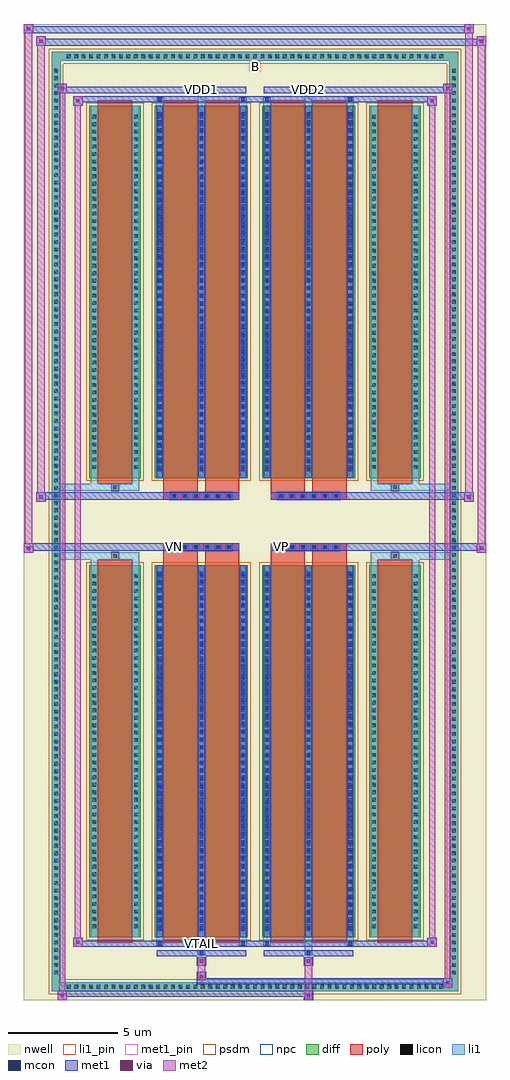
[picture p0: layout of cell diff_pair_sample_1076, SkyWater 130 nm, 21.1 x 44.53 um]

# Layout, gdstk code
import gdstk
lib = gdstk.Library(unit=1e-6, precision=5e-09)
def R(c, l, rs):  # rectangles x0, y0, x1, y1
    for r in rs: c.add(gdstk.rectangle(r[:2], r[2:], *l))
def A(c, l, x, y, w, h, nx, ny, dx, dy):  # array of equal rectangles
    R(c, l, [(x+i*dx, y+j*dy, x+i*dx+w, y+j*dy+h) for i in range(nx) for j in range(ny)])
def P(c, l, *ps):  # polygons
    for p in ps: c.add(gdstk.Polygon(p, *l))
nwell = (64, 20)
diff = (65, 20)
poly = (66, 20)
licon = (66, 44)
li1_pin = (67, 16)
li1 = (67, 20)
mcon = (67, 44)
met1_pin = (68, 16)
met1 = (68, 20)
via = (68, 44)
met2 = (69, 20)
psdm = (94, 20)
npc = (95, 20)

diff_pair_sample_1076 = lib.new_cell('diff_pair_sample_1076')
R(diff_pair_sample_1076, nwell, [(-10.55,-21.83,10.55,22.7), (-7.87,-20.02,-0.01,-0.8), (0.01,-20.02,7.87,-0.8), (-7.87,0.8,-0.01,20.02), (0.01,0.8,7.87,20.02)])
A(diff_pair_sample_1076, diff, -8.705, -21.43, 0.41, 0.41, 51, 2, 0.34, 42.45)
A(diff_pair_sample_1076, diff, -9.28, -20.775, 0.41, 0.41, 1, 122, 0, 0.34)
A(diff_pair_sample_1076, diff, 8.87, -20.775, 0.41, 0.41, 1, 122, 0, 0.34)
R(diff_pair_sample_1076, diff, [(-8.705,-21.43,8.705,-21.02), (-9.28,-20.775,-8.87,20.775), (8.87,-20.775,9.28,20.775), (-7.56,-18.975,-5.21,-1.985), (-4.57,-18.975,-0.32,-1.985), (0.32,-18.975,4.57,-1.985), (5.21,-18.975,7.56,-1.985), (-7.56,1.985,-5.21,18.975), (-4.57,1.985,-0.32,18.975), (0.32,1.985,4.57,18.975), (5.21,1.985,7.56,18.975), (-8.705,21.02,8.705,21.43)])
P(diff_pair_sample_1076, diff, [(9.28,21.43),(-9.28,21.43),(-9.28,-21.02),(-8.87,-21.02),(-8.87,21.02),(8.87,21.02),(8.87,-21.02),(-8.87,-21.02),(-9.28,-21.02),(-9.28,-21.43),(9.28,-21.43)])
A(diff_pair_sample_1076, poly, -3.86, -1.33, 0.33, 0.33, 6, 2, 0.5, 2.33)
A(diff_pair_sample_1076, poly, 1.03, -1.33, 0.33, 0.33, 6, 2, 0.5, 2.33)
R(diff_pair_sample_1076, poly, [(-7.17,-19.225,-5.6,-1.735), (-4.18,-19.225,-2.61,-1.735), (-2.28,-19.225,-0.71,-1.735), (0.71,-19.225,2.28,-1.735), (2.61,-19.225,4.18,-1.735), (5.6,-19.225,7.17,-1.735), (-6.55,-1.735,-6.22,-1.405), (-6.55,-1.735,-6.22,-1.405), (-4.18,-1.735,-2.61,-1.33), (-2.28,-1.735,-0.71,-1.33), (0.71,-1.735,2.28,-1.33), (2.61,-1.735,4.18,-1.33), (6.22,-1.735,6.55,-1.405), (6.22,-1.735,6.55,-1.405), (-4.18,-1.33,-0.71,-1), (0.71,-1.33,4.18,-1), (-4.18,1,-0.71,1.33), (0.71,1,4.18,1.33), (-4.18,1.33,-2.61,1.735), (-2.28,1.33,-0.71,1.735), (0.71,1.33,2.28,1.735), (2.61,1.33,4.18,1.735), (-6.55,1.405,-6.22,1.735), (-6.55,1.405,-6.22,1.735), (6.22,1.405,6.55,1.735), (6.22,1.405,6.55,1.735), (-7.17,1.735,-5.6,19.225), (-4.18,1.735,-2.61,19.225), (-2.28,1.735,-0.71,19.225), (0.71,1.735,2.28,19.225), (2.61,1.735,4.18,19.225), (5.6,1.735,7.17,19.225)])
A(diff_pair_sample_1076, licon, -8.585, -21.31, 0.17, 0.17, 51, 2, 0.34, 42.45)
A(diff_pair_sample_1076, licon, -9.16, -20.655, 0.17, 0.17, 1, 122, 0, 0.34)
A(diff_pair_sample_1076, licon, 8.99, -20.655, 0.17, 0.17, 1, 122, 0, 0.34)
A(diff_pair_sample_1076, licon, -7.42, -18.555, 0.17, 0.17, 1, 48, 0, 0.34)
A(diff_pair_sample_1076, licon, -5.52, -18.555, 0.17, 0.17, 1, 48, 0, 0.34)
A(diff_pair_sample_1076, licon, -4.43, -18.555, 0.17, 0.17, 3, 48, 1.9, 0.34)
A(diff_pair_sample_1076, licon, 0.46, -18.555, 0.17, 0.17, 3, 48, 1.9, 0.34)
A(diff_pair_sample_1076, licon, 5.35, -18.555, 0.17, 0.17, 1, 48, 0, 0.34)
A(diff_pair_sample_1076, licon, 7.25, -18.555, 0.17, 0.17, 1, 48, 0, 0.34)
A(diff_pair_sample_1076, licon, -3.78, -1.25, 0.17, 0.17, 6, 2, 0.5, 2.33)
A(diff_pair_sample_1076, licon, 1.11, -1.25, 0.17, 0.17, 6, 2, 0.5, 2.33)
A(diff_pair_sample_1076, licon, -7.42, 2.405, 0.17, 0.17, 1, 48, 0, 0.34)
A(diff_pair_sample_1076, licon, -5.52, 2.405, 0.17, 0.17, 1, 48, 0, 0.34)
A(diff_pair_sample_1076, licon, -4.43, 2.405, 0.17, 0.17, 3, 48, 1.9, 0.34)
A(diff_pair_sample_1076, licon, 0.46, 2.405, 0.17, 0.17, 3, 48, 1.9, 0.34)
A(diff_pair_sample_1076, licon, 5.35, 2.405, 0.17, 0.17, 1, 48, 0, 0.34)
A(diff_pair_sample_1076, licon, 7.25, 2.405, 0.17, 0.17, 1, 48, 0, 0.34)
R(diff_pair_sample_1076, licon, [(-6.47,-1.655,-6.3,-1.485), (6.3,-1.655,6.47,-1.485), (-6.47,1.485,-6.3,1.655), (6.3,1.485,6.47,1.655)])
R(diff_pair_sample_1076, li1_pin, [(-0.25,20.52,0.25,21.02)])
A(diff_pair_sample_1076, li1, -8.665, -21.39, 0.33, 0.33, 51, 2, 0.34, 42.45)
A(diff_pair_sample_1076, li1, -9.24, -20.735, 0.33, 0.33, 1, 122, 0, 0.34)
A(diff_pair_sample_1076, li1, 8.91, -20.735, 0.33, 0.33, 1, 122, 0, 0.34)
A(diff_pair_sample_1076, li1, -4.51, -18.975, 0.33, 16.99, 3, 2, 1.9, 20.96)
A(diff_pair_sample_1076, li1, 0.38, -18.975, 0.33, 16.99, 3, 2, 1.9, 20.96)
A(diff_pair_sample_1076, li1, -4.43, -18.665, 0.17, 0.17, 3, 46, 1.9, 0.36)
A(diff_pair_sample_1076, li1, -4.43, -18.665, 0.17, 16.37, 3, 2, 1.9, 20.96)
A(diff_pair_sample_1076, li1, 0.46, -18.665, 0.17, 0.17, 3, 46, 1.9, 0.36)
A(diff_pair_sample_1076, li1, 0.46, -18.665, 0.17, 16.37, 3, 2, 1.9, 20.96)
A(diff_pair_sample_1076, li1, -7.5, -18.635, 0.33, 0.33, 1, 48, 0, 0.34)
A(diff_pair_sample_1076, li1, -5.6, -18.635, 0.33, 0.33, 1, 48, 0, 0.34)
A(diff_pair_sample_1076, li1, -4.51, -18.635, 0.33, 0.33, 3, 48, 1.9, 0.34)
A(diff_pair_sample_1076, li1, 0.38, -18.635, 0.33, 0.33, 3, 48, 1.9, 0.34)
A(diff_pair_sample_1076, li1, 5.27, -18.635, 0.33, 0.33, 1, 48, 0, 0.34)
A(diff_pair_sample_1076, li1, 7.17, -18.635, 0.33, 0.33, 1, 48, 0, 0.34)
A(diff_pair_sample_1076, li1, -3.86, -1.33, 0.33, 0.33, 6, 2, 0.5, 2.33)
A(diff_pair_sample_1076, li1, 1.03, -1.33, 0.33, 0.33, 6, 2, 0.5, 2.33)
A(diff_pair_sample_1076, li1, -4.43, 2.295, 0.17, 0.17, 3, 46, 1.9, 0.36)
A(diff_pair_sample_1076, li1, 0.46, 2.295, 0.17, 0.17, 3, 46, 1.9, 0.36)
A(diff_pair_sample_1076, li1, -7.5, 2.325, 0.33, 0.33, 1, 48, 0, 0.34)
A(diff_pair_sample_1076, li1, -5.6, 2.325, 0.33, 0.33, 1, 48, 0, 0.34)
A(diff_pair_sample_1076, li1, -4.51, 2.325, 0.33, 0.33, 3, 48, 1.9, 0.34)
A(diff_pair_sample_1076, li1, 0.38, 2.325, 0.33, 0.33, 3, 48, 1.9, 0.34)
A(diff_pair_sample_1076, li1, 5.27, 2.325, 0.33, 0.33, 1, 48, 0, 0.34)
A(diff_pair_sample_1076, li1, 7.17, 2.325, 0.33, 0.33, 1, 48, 0, 0.34)
R(diff_pair_sample_1076, li1, [(-9.28,-21.43,-8.87,-21.02), (-9.28,-21.43,-8.87,-21.02), (-8.87,-21.43,8.87,-21.02), (8.87,-21.43,9.28,-21.02), (8.87,-21.43,9.28,-21.02), (-9.28,-21.02,-8.87,21.02), (8.87,-21.02,9.28,21.02), (-2.61,-19.78,-2.28,-18.975), (-2.53,-19.78,-2.36,-19.61), (2.28,-19.78,2.61,-18.975), (2.36,-19.78,2.53,-19.61), (-4.51,-19.35,-4.18,-18.975), (-4.43,-19.35,-4.26,-19.18), (-0.71,-19.35,-0.38,-18.975), (-0.63,-19.35,-0.46,-19.18), (0.38,-19.35,0.71,-18.975), (0.46,-19.35,0.63,-19.18), (4.18,-19.35,4.51,-18.975), (4.26,-19.35,4.43,-19.18), (-7.5,-18.975,-7.17,-1.985), (-5.6,-18.975,-5.27,-1.985), (5.27,-18.975,5.6,-1.985), (7.17,-18.975,7.5,-1.985), (-7.5,-1.985,-7.17,-1.405), (-5.6,-1.985,-5.27,-1.405), (5.27,-1.985,5.6,-1.405), (7.17,-1.985,7.5,-1.405), (-9.28,-1.735,-6.55,-1.405), (-7.5,-1.735,-6.55,-1.405), (-6.55,-1.735,-6.22,-1.405), (-6.22,-1.735,-5.27,-1.405), (5.27,-1.735,6.22,-1.405), (6.22,-1.735,6.55,-1.405), (6.22,-1.735,9.28,-1.405), (6.55,-1.735,7.5,-1.405), (-9.28,1.405,-6.55,1.735), (-7.5,1.405,-6.55,1.735), (-7.5,1.405,-7.17,1.985), (-6.55,1.405,-6.22,1.735), (-6.22,1.405,-5.27,1.735), (-5.6,1.405,-5.27,1.985), (5.27,1.405,6.22,1.735), (5.27,1.405,5.6,1.985), (6.22,1.405,6.55,1.735), (6.22,1.405,9.28,1.735), (6.55,1.405,7.5,1.735), (7.17,1.405,7.5,1.985), (-7.5,1.985,-7.17,18.975), (-5.6,1.985,-5.27,18.975), (5.27,1.985,5.6,18.975), (7.17,1.985,7.5,18.975), (-4.51,18.975,-4.18,19.35), (-2.61,18.975,-2.28,19.78), (-0.71,18.975,-0.38,19.35), (0.38,18.975,0.71,19.35), (2.28,18.975,2.61,19.78), (4.18,18.975,4.51,19.35), (-4.43,19.18,-4.26,19.35), (-0.63,19.18,-0.46,19.35), (0.46,19.18,0.63,19.35), (4.26,19.18,4.43,19.35), (-2.53,19.61,-2.36,19.78), (2.36,19.61,2.53,19.78), (-9.28,21.02,-8.87,21.43), (-9.28,21.02,-8.87,21.43), (-8.87,21.02,8.87,21.43), (8.87,21.02,9.28,21.43), (8.87,21.02,9.28,21.43)])
A(diff_pair_sample_1076, mcon, -4.43, -18.665, 0.17, 0.17, 3, 46, 1.9, 0.36)
A(diff_pair_sample_1076, mcon, 0.46, -18.665, 0.17, 0.17, 3, 46, 1.9, 0.36)
A(diff_pair_sample_1076, mcon, -3.78, -1.25, 0.17, 0.17, 6, 2, 0.5, 2.33)
A(diff_pair_sample_1076, mcon, 1.11, -1.25, 0.17, 0.17, 6, 2, 0.5, 2.33)
A(diff_pair_sample_1076, mcon, -4.43, 2.295, 0.17, 0.17, 3, 46, 1.9, 0.36)
A(diff_pair_sample_1076, mcon, 0.46, 2.295, 0.17, 0.17, 3, 46, 1.9, 0.36)
R(diff_pair_sample_1076, mcon, [(-2.53,-19.78,-2.36,-19.61), (2.36,-19.78,2.53,-19.61), (-4.43,-19.35,-4.26,-19.18), (-0.63,-19.35,-0.46,-19.18), (0.46,-19.35,0.63,-19.18), (4.26,-19.35,4.43,-19.18), (-4.43,19.18,-4.26,19.35), (-0.63,19.18,-0.46,19.35), (0.46,19.18,0.63,19.35), (4.26,19.18,4.43,19.35), (-2.53,19.61,-2.36,19.78), (2.36,19.61,2.53,19.78)])
R(diff_pair_sample_1076, met1_pin, [(-2.58,-19.39,-2.31,-19.12), (-3.83,-1.29,-3.56,-1.02), (1.06,-1.29,1.33,-1.02), (-2.58,19.57,-2.31,19.84), (2.31,19.57,2.58,19.84)])
A(diff_pair_sample_1076, met1, -4.49, -18.975, 0.29, 16.99, 3, 2, 1.9, 20.96)
A(diff_pair_sample_1076, met1, 0.4, -18.975, 0.29, 16.99, 3, 2, 1.9, 20.96)
A(diff_pair_sample_1076, met1, -4.49, -18.725, 0.29, 0.29, 3, 46, 1.9, 0.36)
A(diff_pair_sample_1076, met1, 0.4, -18.725, 0.29, 0.29, 3, 46, 1.9, 0.36)
A(diff_pair_sample_1076, met1, -3.84, -1.31, 0.29, 0.29, 6, 2, 0.5, 2.33)
A(diff_pair_sample_1076, met1, 1.05, -1.31, 0.29, 0.29, 6, 2, 0.5, 2.33)
A(diff_pair_sample_1076, met1, -4.49, 2.235, 0.29, 0.29, 3, 46, 1.9, 0.36)
A(diff_pair_sample_1076, met1, 0.4, 2.235, 0.29, 0.29, 3, 46, 1.9, 0.36)
R(diff_pair_sample_1076, met1, [(-9.01,-21.83,-8.58,-21.4), (2.23,-21.83,2.66,-21.4), (-9.01,-21.69,2.66,-21.4), (8.58,-21.26,9.01,-20.83), (-2.66,-21.12,9.01,-20.83), (-2.66,-20.98,-2.23,-20.55), (-2.66,-20.27,-2.23,-19.84), (2.23,-20.27,2.66,-19.84), (-4.49,-19.84,-0.4,-19.55), (-2.59,-19.84,-2.3,-19.55), (0.4,-19.84,4.49,-19.55), (2.3,-19.84,2.59,-19.55), (-8.3,-19.41,-7.87,-18.98), (-8.3,-19.41,-4.49,-19.12), (-4.49,-19.41,-4.2,-19.12), (-4.49,-19.41,-0.4,-19.12), (-0.69,-19.41,-0.4,-19.12), (-0.4,-19.41,0.4,-19.12), (0.4,-19.41,0.69,-19.12), (0.4,-19.41,4.49,-19.12), (4.2,-19.41,4.49,-19.12), (4.49,-19.41,8.3,-19.12), (7.87,-19.41,8.3,-18.98), (-10.55,-1.43,-10.12,-1), (10.12,-1.43,10.55,-1), (-10.55,-1.33,-0.71,-1), (-4.18,-1.33,-0.71,-1), (0.71,-1.33,4.18,-1), (0.71,-1.33,10.55,-1), (-9.98,0.9,-9.55,1.33), (9.55,0.9,9.98,1.33), (-9.98,1,-4.18,1.33), (-4.18,1,-0.71,1.33), (0.71,1,4.18,1.33), (4.18,1,9.98,1.33), (-8.3,18.98,-7.87,19.41), (7.87,18.98,8.3,19.41), (-8.3,19.12,-4.49,19.41), (-4.49,19.12,-4.2,19.41), (-4.49,19.12,-0.4,19.41), (-0.69,19.12,-0.4,19.41), (-0.4,19.12,0.4,19.41), (0.4,19.12,0.69,19.41), (0.4,19.12,4.49,19.41), (4.2,19.12,4.49,19.41), (4.49,19.12,8.3,19.41), (-9.01,19.55,-8.58,19.98), (-9.01,19.55,-4.49,19.84), (-4.49,19.55,-0.4,19.84), (-2.59,19.55,-2.3,19.84), (0.4,19.55,4.49,19.84), (2.3,19.55,2.59,19.84), (4.49,19.55,9.01,19.84), (8.58,19.55,9.01,19.98), (-9.98,21.7,-9.55,22.13), (-9.98,21.7,-7.87,22.03), (-7.87,21.7,7.87,22.03), (7.87,21.7,10.55,22.03), (10.12,21.7,10.55,22.13), (-10.55,22.27,-10.12,22.7), (-10.55,22.27,-7.87,22.6), (-7.87,22.27,7.87,22.6), (7.87,22.27,9.98,22.6), (9.55,22.27,9.98,22.7)])
R(diff_pair_sample_1076, via, [(-8.87,-21.69,-8.72,-21.54), (2.37,-21.69,2.52,-21.54), (8.72,-21.12,8.87,-20.97), (-2.52,-20.84,-2.37,-20.69), (-2.52,-20.13,-2.37,-19.98), (2.37,-20.13,2.52,-19.98), (-8.16,-19.27,-8.01,-19.12), (8.01,-19.27,8.16,-19.12), (-10.41,-1.29,-10.26,-1.14), (10.26,-1.29,10.41,-1.14), (-9.84,1.04,-9.69,1.19), (9.69,1.04,9.84,1.19), (-8.16,19.12,-8.01,19.27), (8.01,19.12,8.16,19.27), (-8.87,19.69,-8.72,19.84), (8.72,19.69,8.87,19.84), (-9.84,21.84,-9.69,21.99), (10.26,21.84,10.41,21.99), (-10.41,22.41,-10.26,22.56), (9.69,22.41,9.84,22.56)])
R(diff_pair_sample_1076, met2, [(-9.01,-21.83,-8.58,-21.4), (-8.94,-21.83,-8.65,19.98), (-8.65,-21.83,-8.58,-21.4), (-8.96,-21.78,-8.63,-21.45), (2.28,-21.78,2.61,-21.45), (2.28,-21.45,2.61,-20.22), (8.58,-21.26,9.01,-20.83), (8.65,-21.26,8.94,19.98), (8.94,-21.26,9.01,-20.83), (8.63,-21.21,8.96,-20.88), (-2.61,-20.93,-2.28,-20.6), (-2.61,-20.6,-2.28,-20.22), (-2.61,-20.22,-2.28,-19.89), (2.28,-20.22,2.61,-19.89), (-8.3,-19.41,-7.87,-18.98), (-8.23,-19.41,-7.94,19.41), (-7.94,-19.41,-7.87,-18.98), (7.87,-19.41,8.3,-18.98), (7.94,-19.41,8.23,19.41), (8.23,-19.41,8.3,-18.98), (-8.25,-19.36,-7.92,-19.03), (7.92,-19.36,8.25,-19.03), (-10.55,-1.43,-10.12,-1), (-10.5,-1.43,-10.17,22.7), (-10.17,-1.43,-10.12,-1), (10.12,-1.43,10.55,-1), (10.17,-1.43,10.5,22.13), (10.5,-1.43,10.55,-1), (-10.5,-1.38,-10.17,-1.05), (10.17,-1.38,10.5,-1.05), (-9.98,0.9,-9.55,1.33), (-9.93,0.9,-9.6,22.13), (-9.6,0.9,-9.55,1.33), (9.55,0.9,9.98,1.33), (9.6,0.9,9.93,22.7), (9.93,0.9,9.98,1.33), (-9.93,0.95,-9.6,1.28), (9.6,0.95,9.93,1.28), (-8.3,18.98,-7.87,19.41), (-7.94,18.98,-7.87,19.41), (7.87,18.98,8.3,19.41), (8.23,18.98,8.3,19.41), (-8.25,19.03,-7.92,19.36), (7.92,19.03,8.25,19.36), (-9.01,19.55,-8.58,19.98), (-8.65,19.55,-8.58,19.98), (8.58,19.55,9.01,19.98), (8.94,19.55,9.01,19.98), (-8.96,19.6,-8.63,19.93), (8.63,19.6,8.96,19.93), (-9.98,21.7,-9.55,22.13), (-9.6,21.7,-9.55,22.13), (10.12,21.7,10.55,22.13), (10.5,21.7,10.55,22.13), (-9.93,21.75,-9.6,22.08), (10.17,21.75,10.5,22.08), (-10.55,22.27,-10.12,22.7), (-10.17,22.27,-10.12,22.7), (9.55,22.27,9.98,22.7), (9.93,22.27,9.98,22.7), (-10.5,22.32,-10.17,22.65), (9.6,22.32,9.93,22.65)])
R(diff_pair_sample_1076, psdm, [(-7.69,-19.105,-5.08,-1.855), (-4.7,-19.105,-0.19,-1.855), (0.19,-19.105,4.7,-1.855), (5.08,-19.105,7.69,-1.855), (-7.69,1.855,-5.08,19.105), (-4.7,1.855,-0.19,19.105), (0.19,1.855,4.7,19.105), (5.08,1.855,7.69,19.105)])
P(diff_pair_sample_1076, psdm, [(9.41,21.56),(-9.41,21.56),(-9.41,-20.89),(-8.74,-20.89),(-8.74,20.89),(8.74,20.89),(8.74,-20.89),(-8.74,-20.89),(-9.41,-20.89),(-9.41,-21.56),(9.41,-21.56)])
A(diff_pair_sample_1076, npc, -3.88, -1.35, 0.37, 0.37, 6, 2, 0.5, 2.33)
A(diff_pair_sample_1076, npc, 1.01, -1.35, 0.37, 0.37, 6, 2, 0.5, 2.33)
R(diff_pair_sample_1076, npc, [(-6.57,-1.755,-6.2,-1.385), (6.2,-1.755,6.57,-1.385), (-3.88,-1.35,-3.01,-0.98), (-3.88,-1.35,-3.01,-0.98), (-3.38,-1.35,-2.51,-0.98), (-3.38,-1.35,-2.51,-0.98), (-2.88,-1.35,-2.01,-0.98), (-2.88,-1.35,-2.01,-0.98), (-2.38,-1.35,-1.51,-0.98), (-2.38,-1.35,-1.51,-0.98), (-1.88,-1.35,-1.01,-0.98), (-1.88,-1.35,-1.01,-0.98), (1.01,-1.35,1.88,-0.98), (1.01,-1.35,1.88,-0.98), (1.51,-1.35,2.38,-0.98), (1.51,-1.35,2.38,-0.98), (2.01,-1.35,2.88,-0.98), (2.01,-1.35,2.88,-0.98), (2.51,-1.35,3.38,-0.98), (2.51,-1.35,3.38,-0.98), (3.01,-1.35,3.88,-0.98), (3.01,-1.35,3.88,-0.98), (-3.88,0.98,-3.01,1.35), (-3.88,0.98,-3.01,1.35), (-3.38,0.98,-2.51,1.35), (-3.38,0.98,-2.51,1.35), (-2.88,0.98,-2.01,1.35), (-2.88,0.98,-2.01,1.35), (-2.38,0.98,-1.51,1.35), (-2.38,0.98,-1.51,1.35), (-1.88,0.98,-1.01,1.35), (-1.88,0.98,-1.01,1.35), (1.01,0.98,1.88,1.35), (1.01,0.98,1.88,1.35), (1.51,0.98,2.38,1.35), (1.51,0.98,2.38,1.35), (2.01,0.98,2.88,1.35), (2.01,0.98,2.88,1.35), (2.51,0.98,3.38,1.35), (2.51,0.98,3.38,1.35), (3.01,0.98,3.88,1.35), (3.01,0.98,3.88,1.35), (-6.57,1.385,-6.2,1.755), (6.2,1.385,6.57,1.755)])
diff_pair_sample_1076.add(gdstk.Label('VTAIL', (-2.445,-19.255), layer=68, texttype=5))
diff_pair_sample_1076.add(gdstk.Label('VN', (-3.695,-1.155), layer=68, texttype=5))
diff_pair_sample_1076.add(gdstk.Label('VP', (1.195,-1.155), layer=68, texttype=5))
diff_pair_sample_1076.add(gdstk.Label('B', (0,20.77), layer=67, texttype=5))
diff_pair_sample_1076.add(gdstk.Label('VDD2', (2.445,19.705), layer=68, texttype=5))
diff_pair_sample_1076.add(gdstk.Label('VDD1', (-2.445,19.705), layer=68, texttype=5))

lib.write_gds('diff_pair_sample_1076.gds')
